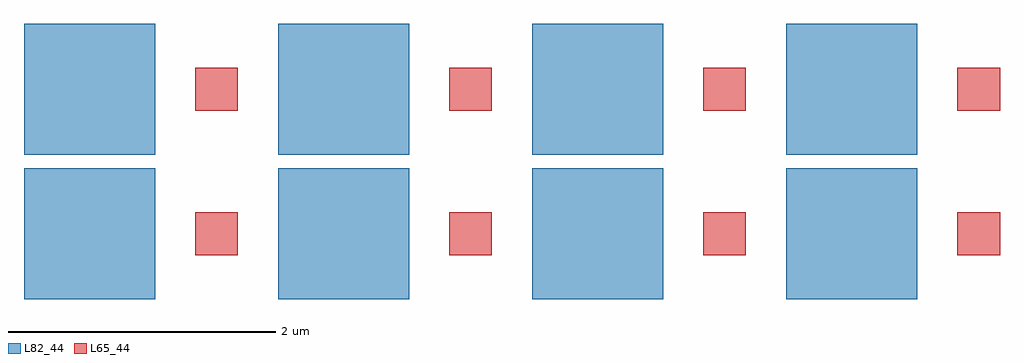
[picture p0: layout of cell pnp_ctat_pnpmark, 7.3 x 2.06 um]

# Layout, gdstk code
import gdstk
lib = gdstk.Library(unit=1e-6, precision=1e-09)
def R(c, l, rs):  # rectangles x0, y0, x1, y1
    for r in rs: c.add(gdstk.rectangle(r[:2], r[2:], *l))
def A(c, l, x, y, w, h, nx, ny, dx, dy):  # array of equal rectangles
    R(c, l, [(x+i*dx, y+j*dy, x+i*dx+w, y+j*dy+h) for i in range(nx) for j in range(ny)])
L65_44 = (65, 44)
L82_44 = (82, 44)

pnp_ctat_pnpmark = lib.new_cell('pnp_ctat_pnpmark')
A(pnp_ctat_pnpmark, L65_44, 1.13, 0.18, 0.32, 0.32, 4, 2, 1.9, 1.08)
A(pnp_ctat_pnpmark, L82_44, -0.15, -0.15, 0.98, 0.98, 4, 2, 1.9, 1.08)

lib.write_gds('pnp_ctat_pnpmark.gds')
